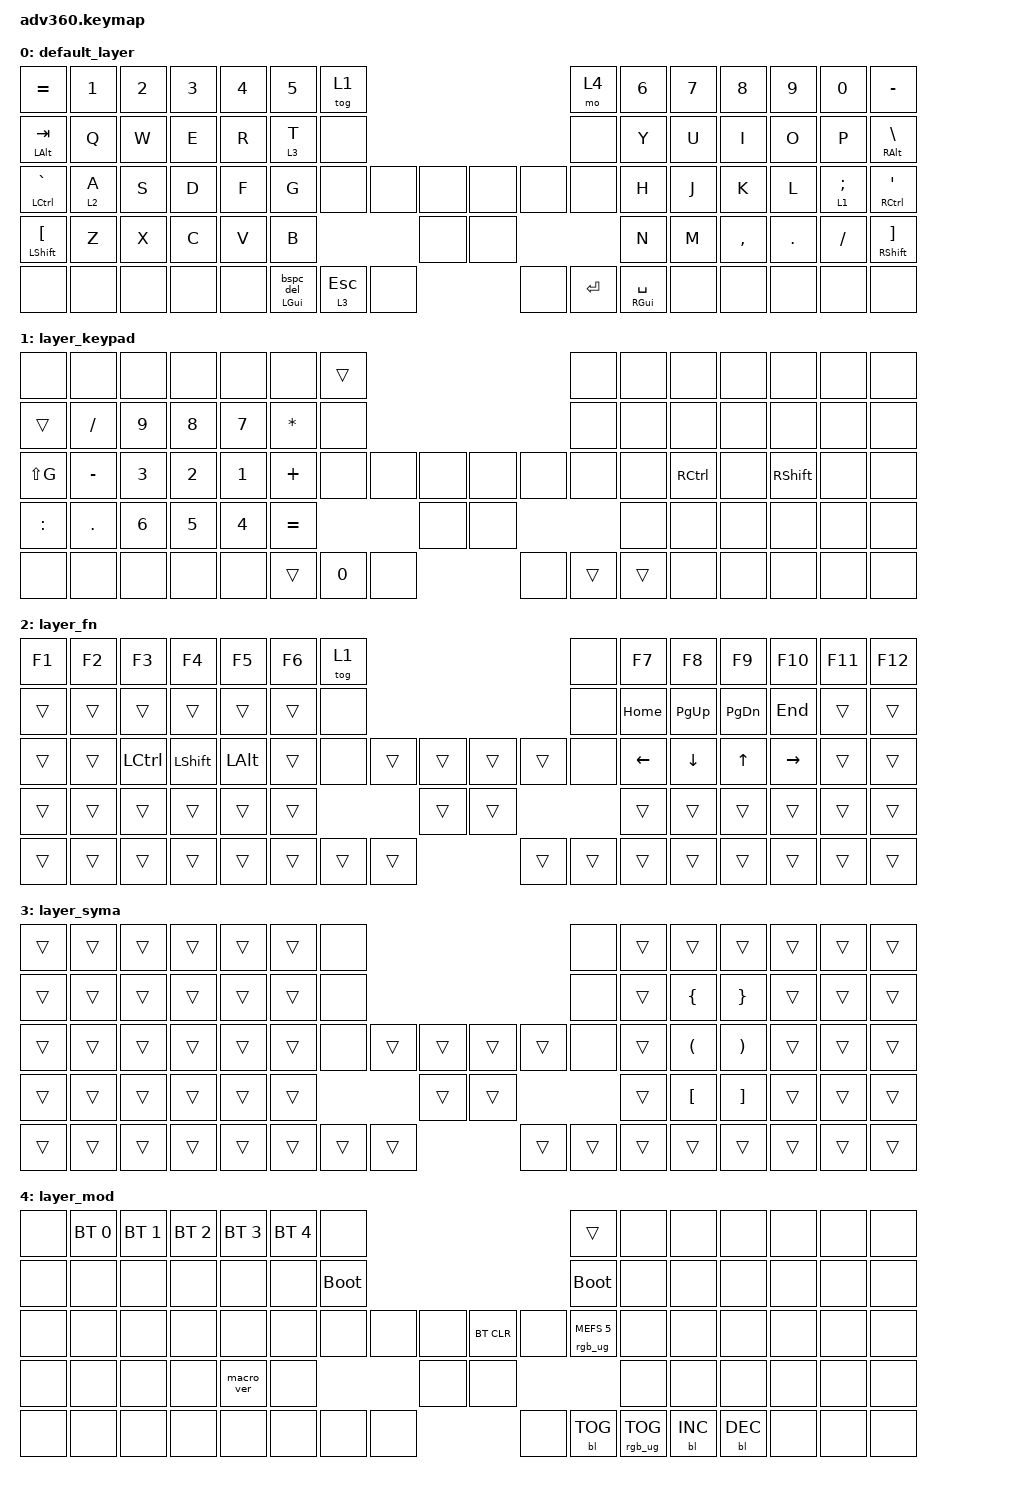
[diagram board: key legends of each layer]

/*
 * Copyright (c) 2020 The ZMK Contributors
 *
 * SPDX-License-Identifier: MIT
 */


/* THIS FILE WAS GENERATED!
 *
 * This file was generated automatically. You may or may not want to
 * edit it directly.
 */

#include <behaviors.dtsi>
#include <dt-bindings/zmk/keys.h>
#include <dt-bindings/zmk/bt.h>
#include <dt-bindings/zmk/rgb.h>
#include <dt-bindings/zmk/backlight.h>

/ {
    behaviors {
        #include "macros.dtsi"
        #include "version.dtsi"

        hm: homerow_mods {
            compatible = "zmk,behavior-hold-tap";
            label = "HOMEROW_MODS";
            #binding-cells = <2>;
            tapping-term-ms = <200>;
            quick_tap_ms = <175>;
            flavor = "tap-preferred";
            bindings = <&kp>, <&kp>;
        };

        //tab_tilde: tab_tilde {
        //    compatible = "zmk,behavior-mod-morph";
        //    #binding-cells = <0>;
        //    bindings = <&kp TAB>, <&kp TILDE>;
        //    mods = <(MOD_LSFT|MOD_RSFT)>;
        //};

        //tab: tab {
        //    compatible = "zmk,behavior-hold-tap";
        //    #binding-cells = <2>;
        //    tapping-term-ms = <200>;
        //    quick_tap_ms = <175>;
        //    flavor = "tap-preferred";
        //    bindings = <&kp>, <&tab_tilde>;
        //};

        bspc_del: backspace_delete {
            compatible = "zmk,behavior-mod-morph";
            #binding-cells = <0>;
            bindings = <&kp BACKSPACE>, <&kp DELETE>;
            mods = <(MOD_LSFT|MOD_RSFT)>;
        };

        bspc: backspace {
            compatible = "zmk,behavior-hold-tap";
            #binding-cells = <2>;
            tapping-term-ms = <200>;
            quick_tap_ms = <175>;
            flavor = "tap-preferred";
            bindings = <&kp>, <&bspc_del>;
        };

        //esc: escape_grave {
        //    compatible = "zmk,behavior-mod-morph";
        //    #binding-cells = <0>;
        //    bindings = <&kp ESC>, <&kp GRAVE>;
        //    mods = <(MOD_LSFT|MOD_RSFT)>;
        //};

    };

    keymap {
        compatible = "zmk,keymap";

        // layer 0: default
        default_layer {
            bindings = <
 &kp EQUAL        &kp N1   &kp N2  &kp N3  &kp N4  &kp N5   &tog 1                                                              &mo 4  &kp N6  &kp N7  &kp N8     &kp N9   &kp N0      &kp MINUS
 &hm LALT TAB     &kp Q    &kp W   &kp E   &kp R   &lt 3 T  &none                                                               &none  &kp Y   &kp U   &kp I      &kp O    &kp P       &mt RALT BSLH
 &mt LCTRL GRAVE  &lt 2 A  &kp S   &kp D   &kp F   &kp G    &none            &none      &none     &none  &none                  &none  &kp H   &kp J   &kp K      &kp L    &lt 1 SEMI  &hm RCTRL SQT
 &mt LSHFT LBKT   &kp Z    &kp X   &kp C   &kp V   &kp B                                &none     &none                                &kp N   &kp M   &kp COMMA  &kp DOT  &kp FSLH    &mt RSHFT RBKT
 &none            &none    &none   &none   &none               &bspc LGUI 0  &lt 3 ESC  &none     &none  &kp ENTER  &hm RGUI SPACE             &none   &none      &none    &none       &none
            >;
        };

        // layer 1: keypad
        layer_keypad {
            bindings = <
 &none      &none      &none   &none   &none   &none      &trans                                           &none  &none  &none      &none  &none      &none  &none
 &trans     &kp SLASH  &kp N9  &kp N8  &kp N7  &kp STAR   &none                                            &none  &none  &none      &none  &none      &none  &none
 &kp LS(G)  &kp MINUS  &kp N3  &kp N2  &kp N1  &kp PLUS   &none       &none   &none     &none  &none       &none  &none  &kp RCTRL  &none  &kp RSHFT  &none  &none
 &kp COLON  &kp DOT    &kp N6  &kp N5  &kp N4  &kp EQUAL                      &none     &none                     &none  &none      &none  &none      &none  &none
 &none      &none      &none   &none   &none                  &trans  &kp N0  &none     &none  &trans  &trans            &none      &none  &none      &none  &none
            >;
        };

        // layer 2: function
        layer_fn {
            bindings = <
 &kp F1  &kp F2  &kp F3     &kp F4     &kp F5   &kp F6  &tog 1                                            &none  &kp F7          &kp F8          &kp F9          &kp F10          &kp F11  &kp F12
 &trans  &trans  &trans     &trans     &trans   &trans  &none                                             &none  &kp HOME        &kp PAGE_UP     &kp PAGE_DOWN   &kp END          &trans   &trans
 &trans  &trans  &kp LCTRL  &kp LSHFT  &kp LALT &trans  &none       &trans  &trans    &trans  &trans      &none  &kp LEFT_ARROW  &kp DOWN_ARROW  &kp UP_ARROW    &kp RIGHT_ARROW  &trans   &trans
 &trans  &trans  &trans     &trans     &trans   &trans                      &trans    &trans                     &trans          &trans          &trans          &trans           &trans   &trans
 &trans  &trans  &trans     &trans     &trans              &trans  &trans  &trans    &trans  &trans  &trans                      &trans          &trans          &trans           &trans   &trans
            >;
        };

        // layer 3: symbol-a
        layer_syma {
            bindings = <
 &trans  &trans  &trans  &trans  &trans  &trans  &none                                             &none  &trans  &trans    &trans  &trans  &trans  &trans
 &trans  &trans  &trans  &trans  &trans  &trans  &none                                             &none  &trans  &kp LBRC  &kp RBRC   &trans  &trans  &trans
 &trans  &trans  &trans  &trans  &trans  &trans  &none       &trans  &trans    &trans  &trans      &none  &trans  &kp LPAR  &kp RPAR   &trans  &trans  &trans
 &trans  &trans  &trans  &trans  &trans  &trans                      &trans    &trans                     &trans  &kp LBKT  &kp RBKT   &trans  &trans  &trans
 &trans  &trans  &trans  &trans  &trans              &trans  &trans  &trans    &trans  &trans  &trans             &trans    &trans  &trans  &trans  &trans
            >;
        };


        // layer 4: mod
        layer_mod {
            bindings = <
 &none  &bt BT_SEL 0  &bt BT_SEL 1  &bt BT_SEL 2  &bt BT_SEL 3  &bt BT_SEL 4  &none                                                              &trans                  &none  &none       &none       &none   &none   &none
 &none  &none         &none         &none         &none         &none         &bootloader                                                        &bootloader             &none  &none       &none       &none   &none   &none
 &none  &none         &none         &none         &none         &none         &none          &none  &none    &bt BT_CLR  &none                   &rgb_ug RGB_MEFS_CMD 5  &none  &none       &none       &none   &none   &none
 &none  &none         &none         &none         &macro_ver    &none                               &none    &none                                                       &none  &none       &none       &none   &none   &none
 &none  &none         &none         &none         &none                                &none &none  &none    &none       &bl BL_TOG  &rgb_ug RGB_TOG                            &bl BL_INC  &bl BL_DEC  &none   &none   &none
            >;
        };

    };
};
